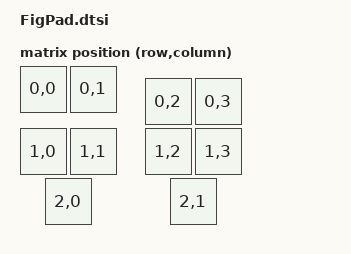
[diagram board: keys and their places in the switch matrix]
#include <physical_layouts.dtsi>
#include <dt-bindings/zmk/matrix_transform.h>

/ {

    default_transform: default_transform {
        compatible = "zmk,matrix-transform";
        columns = <4>;
        rows = <3>;
        map = <
            RC(0,0) RC(0,1) RC(0,2) RC(0,3)
            RC(1,0) RC(1,1) RC(1,2) RC(1,3)
            RC(2,0) RC(2,1)
        >;
    };

    physical_layout0: physical_layout_0 {
        compatible = "zmk,physical-layout";
        display-name = "FigPad";
        transform = <&default_transform>;
        kscan = <&kscan>;

        keys  //                     w   h    x    y     rot    rx    ry
            = <&key_physical_attrs 100 100    0    0       0     0     0>
            , <&key_physical_attrs 100 100  100    0       0     0     0>
            , <&key_physical_attrs 100 100  250   25       0     0     0>
            , <&key_physical_attrs 100 100  350   25       0     0     0>
            , <&key_physical_attrs 100 100    0  125       0     0     0>
            , <&key_physical_attrs 100 100  100  125       0     0     0>
            , <&key_physical_attrs 100 100  250  125       0     0     0>
            , <&key_physical_attrs 100 100  350  125       0     0     0>
            , <&key_physical_attrs 100 100   50  225       0     0     0>
            , <&key_physical_attrs 100 100  300  225       0     0     0>
            ;
    };
};
